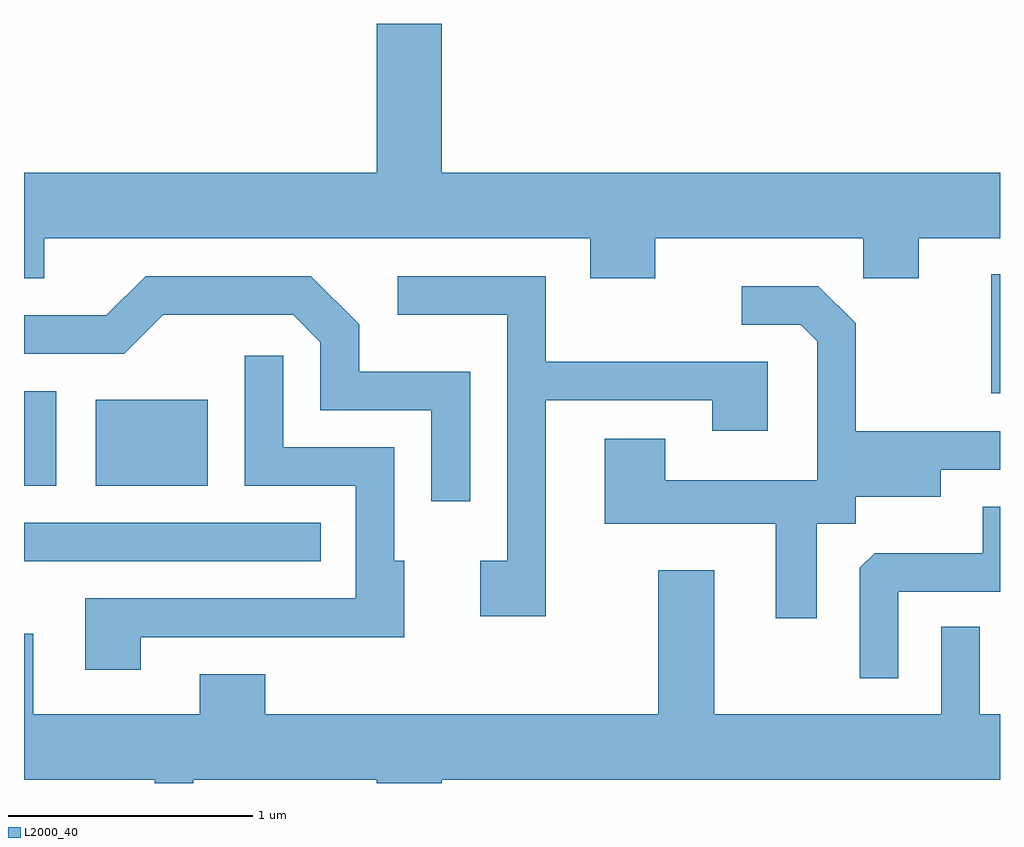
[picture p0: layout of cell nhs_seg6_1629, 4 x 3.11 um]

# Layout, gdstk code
import gdstk
lib = gdstk.Library(unit=1e-6, precision=1e-09)
def R(c, l, rs):  # rectangles x0, y0, x1, y1
    for r in rs: c.add(gdstk.rectangle(r[:2], r[2:], *l))
def P(c, l, *ps):  # polygons
    for p in ps: c.add(gdstk.Polygon(p, *l))
L2000_40 = (2000, 40)

nhs_seg6_1629 = lib.new_cell('nhs_seg6_1629')
R(nhs_seg6_1629, L2000_40, [(233.611,1633.071,234.828,1633.229), (233.611,1633.381,233.744,1633.769), (233.906,1633.381,234.364,1633.734), (237.576,1633.761,237.611,1634.248)])
P(nhs_seg6_1629, L2000_40, [(233.694,1634.396),(235.931,1634.396),(235.931,1634.231),(236.199,1634.231),(236.199,1634.396),(237.051,1634.396),(237.051,1634.231),(237.279,1634.231),(237.279,1634.396),(237.611,1634.396),(237.611,1634.664),(235.324,1634.664),(235.324,1635.274),(235.056,1635.274),(235.056,1634.664),(233.611,1634.664),(233.611,1634.231),(233.694,1634.231)],
  [(235.749,1633.731),(236.431,1633.731),(236.431,1633.606),(236.659,1633.606),(236.659,1633.889),(235.749,1633.889),(235.749,1634.239),(235.143,1634.239),(235.143,1634.081),(235.591,1634.081),(235.591,1633.074),(235.481,1633.074),(235.481,1632.846),(235.749,1632.846)],
  [(235.439,1633.849),(234.984,1633.849),(234.984,1634.042),(234.787,1634.239),(234.109,1634.239),(233.949,1634.079),(233.611,1634.079),(233.611,1633.921),(234.022,1633.921),(234.182,1634.081),(234.714,1634.081),(234.826,1633.969),(234.826,1633.691),(235.281,1633.691),(235.281,1633.318),(235.439,1633.318)],
  [(236.859,1633.226),(237.019,1633.226),(237.019,1633.336),(237.369,1633.336),(237.369,1633.446),(237.611,1633.446),(237.611,1633.604),(237.019,1633.604),(237.019,1634.047),(236.867,1634.199),(236.553,1634.199),(236.553,1634.041),(236.794,1634.041),(236.861,1633.974),(236.861,1633.404),(236.239,1633.404),(236.239,1633.574),(235.991,1633.574),(235.991,1633.226),(236.691,1633.226),(236.691,1632.838),(236.859,1632.838)],
  [(234.089,1632.761),(235.169,1632.761),(235.169,1633.074),(235.129,1633.074),(235.129,1633.539),(234.674,1633.539),(234.674,1633.913),(234.516,1633.913),(234.516,1633.381),(234.971,1633.381),(234.971,1632.919),(233.861,1632.919),(233.861,1632.626),(234.089,1632.626)],
  [(237.194,1632.946),(237.611,1632.946),(237.611,1633.294),(237.541,1633.294),(237.541,1633.104),(237.097,1633.104),(237.036,1633.044),(237.036,1632.593),(237.194,1632.593)],
  [(234.304,1632.176),(235.056,1632.176),(235.056,1632.162),(235.324,1632.162),(235.324,1632.176),(237.611,1632.176),(237.611,1632.444),(237.529,1632.444),(237.529,1632.803),(237.371,1632.803),(237.371,1632.444),(236.439,1632.444),(236.439,1633.034),(236.211,1633.034),(236.211,1632.444),(234.599,1632.444),(234.599,1632.609),(234.331,1632.609),(234.331,1632.444),(233.649,1632.444),(233.649,1632.774),(233.611,1632.774),(233.611,1632.176),(234.146,1632.176),(234.146,1632.162),(234.304,1632.162)])

lib.write_gds('nhs_seg6_1629.gds')
